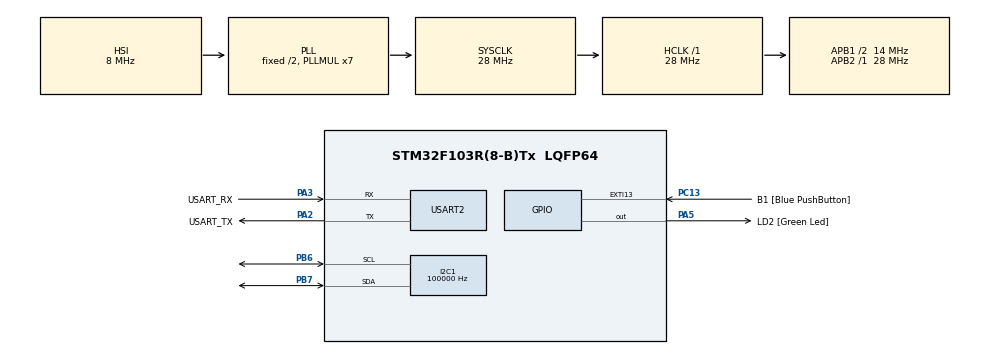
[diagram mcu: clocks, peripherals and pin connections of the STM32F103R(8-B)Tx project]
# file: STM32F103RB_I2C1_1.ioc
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I2C1.ClockSpeed=100000
Mcu.Family=STM32F1
Mcu.Name=STM32F103R(8-B)Tx
Mcu.Package=LQFP64
NVIC.EXTI15_10_IRQn=true\:0\:0\:false\:false\:true
NVIC.I2C1_EV_IRQn=true\:0\:0\:false\:false\:true
NVIC.PriorityGroup=NVIC_PRIORITYGROUP_4
NVIC.USART2_IRQn=true\:0\:0\:false\:false\:true
PA13.GPIO_Label=TMS
PA13.Mode=Serial_Wire
PA13.Signal=SYS_JTMS-SWDIO
PA14.GPIO_Label=TCK
PA14.Mode=Serial_Wire
PA14.Signal=SYS_JTCK-SWCLK
PA2.GPIO_Label=USART_TX
PA2.GPIO_Mode=GPIO_MODE_AF_PP
PA2.GPIO_PuPd=GPIO_NOPULL
PA2.GPIO_Speed=GPIO_SPEED_FREQ_LOW
PA2.Mode=Asynchronous
PA2.Signal=USART2_TX
PA3.GPIO_Label=USART_RX
PA3.GPIO_Mode=GPIO_MODE_AF_PP
PA3.GPIO_PuPd=GPIO_NOPULL
PA3.GPIO_Speed=GPIO_SPEED_FREQ_LOW
PA3.Mode=Asynchronous
PA3.Signal=USART2_RX
PA5.GPIO_Label=LD2 [Green Led]
PA5.GPIO_ModeDefaultOutputPP=GPIO_MODE_OUTPUT_PP
PA5.GPIO_PuPd=GPIO_NOPULL
PA5.GPIO_Speed=GPIO_SPEED_FREQ_LOW
PA5.Signal=GPIO_Output
PB3.GPIO_Label=SWO
PB3.Signal=SYS_JTDO-TRACESWO
PB6.Mode=I2C
PB6.Signal=I2C1_SCL
PB7.Mode=I2C
PB7.Signal=I2C1_SDA
PC13-TAMPER-RTC.GPIO_Label=B1 [Blue PushButton]
PC13-TAMPER-RTC.GPIO_ModeDefaultEXTI=GPIO_MODE_IT_FALLING
PC13-TAMPER-RTC.GPIO_PuPd=GPIO_NOPULL
PC13-TAMPER-RTC.Signal=GPXTI13
PC14-OSC32_IN.Signal=RCC_OSC32_IN
PC15-OSC32_OUT.Signal=RCC_OSC32_OUT
PD0-OSC_IN.Signal=RCC_OSC_IN
PD1-OSC_OUT.Signal=RCC_OSC_OUT
ProjectManager.HeapSize=0x200
ProjectManager.StackSize=0x400
ProjectManager.TargetToolchain=MDK-ARM V5
RCC.AHBFreq_Value=28000000
RCC.APB1CLKDivider=RCC_HCLK_DIV2
RCC.APB1Freq_Value=14000000
RCC.APB1TimFreq_Value=28000000
RCC.APB2Freq_Value=28000000
RCC.APB2TimFreq_Value=28000000
RCC.HCLKFreq_Value=28000000
RCC.PLLMUL=RCC_PLL_MUL7
RCC.SYSCLKFreq_VALUE=28000000
RCC.SYSCLKSource=RCC_SYSCLKSOURCE_PLLCLK
RCC.USBFreq_Value=28000000
board=NUCLEO-F103RB

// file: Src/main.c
/**
  ******************************************************************************
  * File Name          : main.c
  * Description        : Main program body
  ******************************************************************************
  *
  * COPYRIGHT(c) 2020 STMicroelectronics
  *
  * Redistribution and use in source and binary forms, with or without modification,
  * are permitted provided that the following conditions are met:
  *   1. Redistributions of source code must retain the above copyright notice,
  *      this list of conditions and the following disclaimer.
  *   2. Redistributions in binary form must reproduce the above copyright notice,
  *      this list of conditions and the following disclaimer in the documentation
  *      and/or other materials provided with the distribution.
  *   3. Neither the name of STMicroelectronics nor the names of its contributors
  *      may be used to endorse or promote products derived from this software
  *      without specific prior written permission.
  *
  * THIS SOFTWARE IS PROVIDED BY THE COPYRIGHT HOLDERS AND CONTRIBUTORS "AS IS"
  * AND ANY EXPRESS OR IMPLIED WARRANTIES, INCLUDING, BUT NOT LIMITED TO, THE
  * IMPLIED WARRANTIES OF MERCHANTABILITY AND FITNESS FOR A PARTICULAR PURPOSE ARE
  * DISCLAIMED. IN NO EVENT SHALL THE COPYRIGHT HOLDER OR CONTRIBUTORS BE LIABLE
  * FOR ANY DIRECT, INDIRECT, INCIDENTAL, SPECIAL, EXEMPLARY, OR CONSEQUENTIAL
  * DAMAGES (INCLUDING, BUT NOT LIMITED TO, PROCUREMENT OF SUBSTITUTE GOODS OR
  * SERVICES; LOSS OF USE, DATA, OR PROFITS; OR BUSINESS INTERRUPTION) HOWEVER
  * CAUSED AND ON ANY THEORY OF LIABILITY, WHETHER IN CONTRACT, STRICT LIABILITY,
  * OR TORT (INCLUDING NEGLIGENCE OR OTHERWISE) ARISING IN ANY WAY OUT OF THE USE
  * OF THIS SOFTWARE, EVEN IF ADVISED OF THE POSSIBILITY OF SUCH DAMAGE.
  *
  ******************************************************************************
  */
#include "main.h"
#include "stm32f1xx_hal.h"

I2C_HandleTypeDef hi2c1;

UART_HandleTypeDef huart2;

/* USER CODE BEGIN PV */
/* Private variables ---------------------------------------------------------*/

#define temperature_ptr			0x00
//#define	humidity_ptr				0x01
#define	configuration_ptr		0x02
//#define serial_id1_ptr			0xfb
//#define	serial_id2_ptr			0xfc
//#define	serial_id3_ptr			0xfd
//#define	manufacturer_id_ptr	0xfe
#define device_id_ptr				0xff
									//		87654321
#define HDC1080_ADDR		(1<<7) //0x80 0b10000000 --> 1.bit R/W' R=1 W=0

#define digit16					(float)65536.0

float Temperature=0;			// temperature(C) = ((temperature[15:0]/2^16)* 165(C))-40(C)
uint8_t Humiditiy=0;			// humiditiy(%RH) = (humuditiy[15:0]/2^16)*100%RH

uint16_t config_reg = 0x1000;
uint8_t temp=0;
uint8_t i2c_data[4]= {0x00};

/* USER CODE END PV */

void SystemClock_Config(void);
void Error_Handler(void);
static void MX_GPIO_Init(void);
static void MX_I2C1_Init(void);
static void MX_USART2_UART_Init(void);

/* USER CODE BEGIN PFP */
/* Private function prototypes -----------------------------------------------*/

/* USER CODE END PFP */

/* USER CODE BEGIN 0 */
void HDC1080_Config(I2C_HandleTypeDef *hi2cx, uint16_t* config_register,uint8_t temp_resolution , uint8_t humi_resolution)
{
	if(temp_resolution == 11)
	{
		*config_register |= (1<<10);
	}

	if(humi_resolution == 11)
	{
		*config_register |= (1<<8);
	}
	else if(humi_resolution == 8)
	{
		*config_register |= (1<<9);
	}

	i2c_data[0] = ((*config_register)& 0xff00)>>8;
	i2c_data[1] = ((*config_register)& 0x00ff);
	HAL_I2C_Mem_Write(hi2cx,HDC1080_ADDR,configuration_ptr,I2C_MEMADD_SIZE_8BIT,i2c_data,2,100);

}
//
uint8_t IsDeviceReady(I2C_HandleTypeDef* hi2cx, uint8_t device_addr , uint32_t trial)
{
	if(HAL_I2C_IsDeviceReady(&hi2c1,device_addr,trial,10) == HAL_OK)
	{
		return 1;
	}
	else
	{
		return 0;
	}
}
//
uint8_t HDC1080_RST(I2C_HandleTypeDef* hi2cx, uint8_t device_addr , uint16_t* config)
{
	*config |=(1<<15);
	i2c_data[0] = ((*config)& 0xff00)>>8;
	i2c_data[1] = ((*config)& 0x00ff);
	HAL_I2C_Mem_Write(hi2cx,HDC1080_ADDR,configuration_ptr,I2C_MEMADD_SIZE_8BIT,i2c_data,2,100);
	HAL_Delay(10);
	HAL_I2C_Mem_Read(&hi2c1,HDC1080_ADDR,configuration_ptr,I2C_MEMADD_SIZE_8BIT,&i2c_data[0],2,100);
	if(i2c_data[0] == 0x10 & i2c_data[1] == 0x00)
	{
		return 1;
	}
	else
	{
		return 0;
	}
}
//
void	HDC1080_measurement(I2C_HandleTypeDef* hi2cx , uint8_t device_addr)
{
	uint16_t temperature_calc;
	uint16_t humiditiy_calc;
	temp = temperature_ptr;
	HAL_I2C_Master_Transmit(hi2cx , device_addr ,&temp , 1,100);
	HAL_Delay(15);
	HAL_I2C_Master_Receive(hi2cx,device_addr,&i2c_data[0],4,100);

	temperature_calc = ((i2c_data[0]<<8)| i2c_data[1]);
	humiditiy_calc = ((i2c_data[2]<<8)| i2c_data[3]);

	Temperature = ((temperature_calc/digit16)*165)-40;
	Humiditiy   = (uint8_t)((humiditiy_calc/digit16)*100);
}
/* USER CODE END 0 */

int main(void)
{

  /* MCU Configuration----------------------------------------------------------*/

  /* Reset of all peripherals, Initializes the Flash interface and the Systick. */
  HAL_Init();

  /* Configure the system clock */
  SystemClock_Config();

  /* Initialize all configured peripherals */
  MX_GPIO_Init();
  MX_I2C1_Init();
  MX_USART2_UART_Init();

  /* USER CODE BEGIN 2 */
	/*Find device adress*/
//	for(temp=0; temp <= 255;temp++)
//	{
//		if(HAL_I2C_IsDeviceReady(&hi2c1,temp,0x10,10) == HAL_OK)
//		{
//			HAL_GPIO_WritePin(LD2_GPIO_Port,LD2_Pin,GPIO_PIN_SET);
//			break;
//		}
//	}
		//while(IsDeviceReady(&hi2c1,HDC1080_ADDR,32)!= 1){};
	/**/

		HDC1080_RST(&hi2c1,HDC1080_ADDR,&config_reg);
		HDC1080_Config(&hi2c1,&config_reg , 11,11);

  /* USER CODE END 2 */

  /* Infinite loop */
  while (1)
  {

  /* USER CODE BEGIN 3 */
		HDC1080_measurement(&hi2c1, HDC1080_ADDR);
		//HAL_Delay(1000);

  }
  /* USER CODE END 3 */

}

/** System Clock Configuration
*/
void SystemClock_Config(void)
{

  RCC_OscInitTypeDef RCC_OscInitStruct;
  RCC_ClkInitTypeDef RCC_ClkInitStruct;

    /**Initializes the CPU, AHB and APB busses clocks
    */
  RCC_OscInitStruct.OscillatorType = RCC_OSCILLATORTYPE_HSI;
  RCC_OscInitStruct.HSIState = RCC_HSI_ON;
  RCC_OscInitStruct.HSICalibrationValue = 16;
  RCC_OscInitStruct.PLL.PLLState = RCC_PLL_ON;
  RCC_OscInitStruct.PLL.PLLSource = RCC_PLLSOURCE_HSI_DIV2;
  RCC_OscInitStruct.PLL.PLLMUL = RCC_PLL_MUL7;
  if (HAL_RCC_OscConfig(&RCC_OscInitStruct) != HAL_OK)
  {
    Error_Handler();
  }

    /**Initializes the CPU, AHB and APB busses clocks
    */
  RCC_ClkInitStruct.ClockType = RCC_CLOCKTYPE_HCLK|RCC_CLOCKTYPE_SYSCLK
                              |RCC_CLOCKTYPE_PCLK1|RCC_CLOCKTYPE_PCLK2;
  RCC_ClkInitStruct.SYSCLKSource = RCC_SYSCLKSOURCE_PLLCLK;
  RCC_ClkInitStruct.AHBCLKDivider = RCC_SYSCLK_DIV1;
  RCC_ClkInitStruct.APB1CLKDivider = RCC_HCLK_DIV2;
  RCC_ClkInitStruct.APB2CLKDivider = RCC_HCLK_DIV1;

  if (HAL_RCC_ClockConfig(&RCC_ClkInitStruct, FLASH_LATENCY_1) != HAL_OK)
  {
    Error_Handler();
  }

    /**Configure the Systick interrupt time
    */
  HAL_SYSTICK_Config(HAL_RCC_GetHCLKFreq()/1000);

    /**Configure the Systick
    */
  HAL_SYSTICK_CLKSourceConfig(SYSTICK_CLKSOURCE_HCLK);

  /* SysTick_IRQn interrupt configuration */
  HAL_NVIC_SetPriority(SysTick_IRQn, 0, 0);
}

/* I2C1 init function */
static void MX_I2C1_Init(void)
{

  hi2c1.Instance = I2C1;
  hi2c1.Init.ClockSpeed = 100000;
  hi2c1.Init.DutyCycle = I2C_DUTYCYCLE_2;
  hi2c1.Init.OwnAddress1 = 0;
  hi2c1.Init.AddressingMode = I2C_ADDRESSINGMODE_7BIT;
  hi2c1.Init.DualAddressMode = I2C_DUALADDRESS_DISABLE;
  hi2c1.Init.OwnAddress2 = 0;
  hi2c1.Init.GeneralCallMode = I2C_GENERALCALL_DISABLE;
  hi2c1.Init.NoStretchMode = I2C_NOSTRETCH_DISABLE;
  if (HAL_I2C_Init(&hi2c1) != HAL_OK)
  {
    Error_Handler();
  }

}

/* USART2 init function */
static void MX_USART2_UART_Init(void)
{

  huart2.Instance = USART2;
  huart2.Init.BaudRate = 115200;
  huart2.Init.WordLength = UART_WORDLENGTH_8B;
  huart2.Init.StopBits = UART_STOPBITS_1;
  huart2.Init.Parity = UART_PARITY_NONE;
  huart2.Init.Mode = UART_MODE_TX_RX;
  huart2.Init.HwFlowCtl = UART_HWCONTROL_NONE;
  huart2.Init.OverSampling = UART_OVERSAMPLING_16;
  if (HAL_UART_Init(&huart2) != HAL_OK)
  {
    Error_Handler();
  }

}

/** Configure pins as
        * Analog
        * Input
        * Output
        * EVENT_OUT
        * EXTI
*/
static void MX_GPIO_Init(void)
{

  GPIO_InitTypeDef GPIO_InitStruct;

  /* GPIO Ports Clock Enable */
  __HAL_RCC_GPIOC_CLK_ENABLE();
  __HAL_RCC_GPIOD_CLK_ENABLE();
  __HAL_RCC_GPIOA_CLK_ENABLE();
  __HAL_RCC_GPIOB_CLK_ENABLE();

  /*Configure GPIO pin Output Level */
  HAL_GPIO_WritePin(LD2_GPIO_Port, LD2_Pin, GPIO_PIN_RESET);

  /*Configure GPIO pin : B1_Pin */
  GPIO_InitStruct.Pin = B1_Pin;
  GPIO_InitStruct.Mode = GPIO_MODE_IT_FALLING;
  GPIO_InitStruct.Pull = GPIO_NOPULL;
  HAL_GPIO_Init(B1_GPIO_Port, &GPIO_InitStruct);

  /*Configure GPIO pin : LD2_Pin */
  GPIO_InitStruct.Pin = LD2_Pin;
  GPIO_InitStruct.Mode = GPIO_MODE_OUTPUT_PP;
  GPIO_InitStruct.Speed = GPIO_SPEED_FREQ_LOW;
  HAL_GPIO_Init(LD2_GPIO_Port, &GPIO_InitStruct);

  /* EXTI interrupt init*/
  HAL_NVIC_SetPriority(EXTI15_10_IRQn, 0, 0);
  HAL_NVIC_EnableIRQ(EXTI15_10_IRQn);

}

void Error_Handler(void)
{
  while(1)
  {
  }
}

/************************ (C) COPYRIGHT STMicroelectronics *****END OF FILE****/
